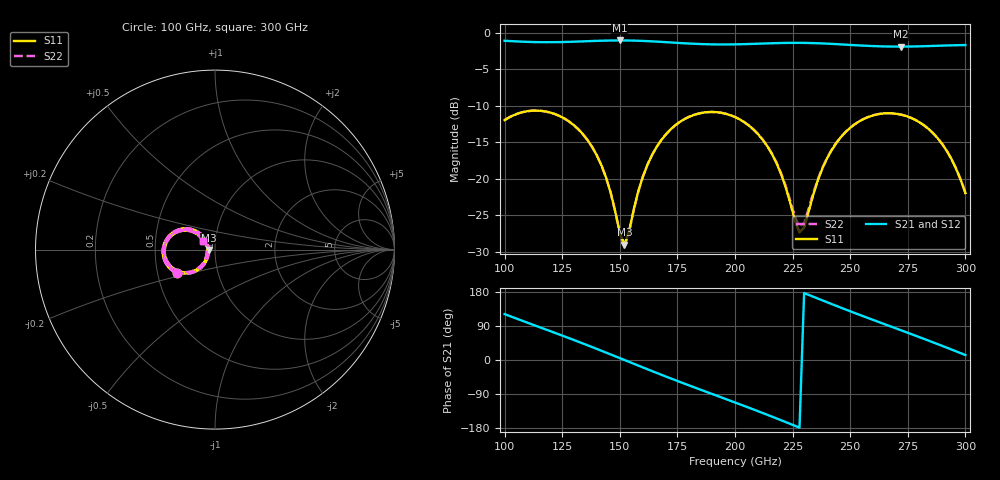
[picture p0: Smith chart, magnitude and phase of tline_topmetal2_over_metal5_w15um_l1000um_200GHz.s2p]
#  GHZ S DB R 50
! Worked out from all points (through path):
!   101 points, 100 GHz to 300 GHz, reference 50 ohm
!   highest |S21| = -1.09 dB at 150 GHz (marker M1); lowest = -1.9 dB at 272 GHz (marker M2)
!   group delay of S21, straight-line fit = 6.52 ps
!   lowest |S11| = -29.0 dB at 152 GHz (marker M3), VSWR 1.07, Z = 46.6 - j0.215 ohm
!   |S11| at or under -10 dB: start of sweep to end of sweep
!   |S22| runs from -29.3 to -10.7 dB; largest |S21 - S12| = 1.5e-13
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100  -11.99 -148.3  -1.12 121.1  -1.12 121.1  -11.99 -148.2
116  -10.73 178.8  -1.32 84.7  -1.32 84.7  -10.73 178.9
126  -11.79 158.8  -1.29 62.1  -1.29 62.1  -11.78 158.9
134  -13.93 143.6  -1.21 43.5  -1.21 43.5  -13.93 143.7
144  -19.83 131.2  -1.11 19.6  -1.11 19.6  -19.84 131.0
150  -27.42 153.1  -1.09 5.0  -1.09 5.0  -27.54 152.5
152  -29.05 -176.3  -1.09 0.1  -1.09 0.1  -29.26 -176.2
160  -19.74 -126.0  -1.15 -19.5  -1.15 -19.5  -19.77 -125.2
168  -14.73 -135.1  -1.28 -38.9  -1.28 -38.9  -14.74 -134.5
184  -11.11 -165.3  -1.56 -76.0  -1.56 -76.0  -11.11 -164.7
200  -11.57 163.7  -1.62 -112.1  -1.62 -112.1  -11.56 164.5
216  -16.62 137.1  -1.47 -149.3  -1.47 -149.3  -16.56 138.7
228  -27.36 176.0  -1.42 -178.4  -1.42 -178.4  -26.63 176.9
230  -26.70 -157.7  -1.42 176.7  -1.42 176.7  -26.06 -159.2
234  -22.17 -133.1  -1.45 166.9  -1.45 166.9  -21.94 -135.1
240  -17.21 -131.3  -1.52 152.4  -1.52 152.4  -17.14 -132.5
248  -13.63 -142.5  -1.66 133.3  -1.66 133.3  -13.60 -143.1
258  -11.55 -160.5  -1.83 110.2  -1.83 110.2  -11.53 -160.9
268  -11.06 -179.3  -1.92 87.6  -1.92 87.6  -11.05 -179.4
272  -11.24 173.3  -1.93 78.6  -1.93 78.6  -11.23 173.2
288  -14.49 146.0  -1.81 41.8  -1.81 41.8  -14.48 146.1
300  -21.98 144.9  -1.72 13.1  -1.72 13.1  -21.89 145.5
